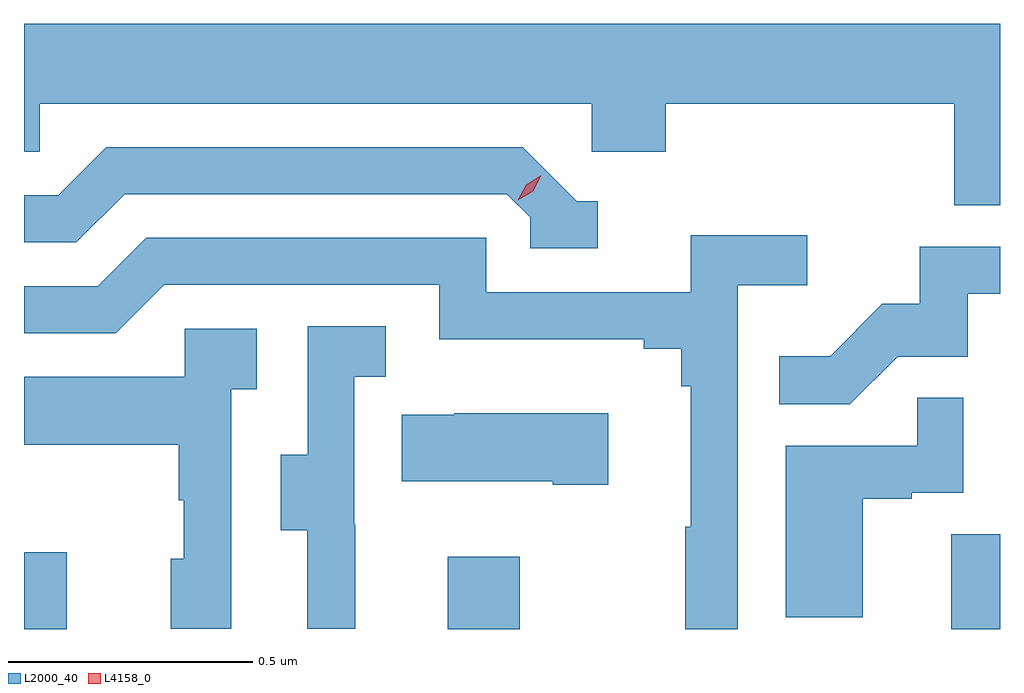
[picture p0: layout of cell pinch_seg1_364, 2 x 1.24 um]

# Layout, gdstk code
import gdstk
lib = gdstk.Library(unit=1e-6, precision=1e-09)
def R(c, l, rs):  # rectangles x0, y0, x1, y1
    for r in rs: c.add(gdstk.rectangle(r[:2], r[2:], *l))
def P(c, l, *ps):  # polygons
    for p in ps: c.add(gdstk.Polygon(p, *l))
L2000_40 = (2000, 40)
L4158_0 = (4158, 0)

pinch_seg1_364 = lib.new_cell('pinch_seg1_364')
R(pinch_seg1_364, L2000_40, [(980.743,547.991,980.831,548.149), (981.611,547.991,981.759,548.14), (982.643,547.991,982.743,548.186)])
P(pinch_seg1_364, L2000_40, [(982.743,549.232),(980.743,549.232),(980.743,548.97),(980.775,548.97),(980.775,549.068),(981.906,549.068),(981.906,548.97),(982.058,548.97),(982.058,549.068),(982.649,549.068),(982.649,548.86),(982.743,548.86)],
  [(981.919,548.868),(981.876,548.868),(981.765,548.979),(980.912,548.979),(980.813,548.88),(980.743,548.88),(980.743,548.784),(980.85,548.784),(980.949,548.883),(981.732,548.883),(981.78,548.835),(981.78,548.772),(981.919,548.772)],
  [(982.206,548.696),(982.348,548.696),(982.348,548.798),(982.109,548.798),(982.109,548.682),(981.69,548.682),(981.69,548.793),(980.993,548.793),(980.894,548.694),(980.743,548.694),(980.743,548.598),(980.931,548.598),(981.03,548.697),(981.594,548.697),(981.594,548.585),(982.013,548.585),(982.013,548.566),(982.09,548.566),(982.09,548.489),(982.109,548.489),(982.109,548.201),(982.098,548.201),(982.098,547.991),(982.206,547.991)],
  [(982.533,548.55),(982.677,548.55),(982.677,548.679),(982.743,548.679),(982.743,548.775),(982.579,548.775),(982.579,548.658),(982.502,548.658),(982.395,548.551),(982.291,548.551),(982.291,548.452),(982.435,548.452)],
  [(981.422,548.205),(981.42,548.205),(981.42,548.509),(981.484,548.509),(981.484,548.612),(981.324,548.612),(981.324,548.349),(981.269,548.349),(981.269,548.194),(981.323,548.194),(981.323,547.992),(981.422,547.992)],
  [(981.168,548.483),(981.22,548.483),(981.22,548.607),(981.072,548.607),(981.072,548.509),(980.743,548.509),(980.743,548.369),(981.06,548.369),(981.06,548.255),(981.07,548.255),(981.07,548.136),(981.044,548.136),(981.044,547.992),(981.168,547.992)],
  [(982.462,548.259),(982.562,548.259),(982.562,548.271),(982.668,548.271),(982.668,548.465),(982.573,548.465),(982.573,548.367),(982.304,548.367),(982.304,548.016),(982.462,548.016)],
  [(981.94,548.434),(981.625,548.434),(981.625,548.431),(981.517,548.431),(981.517,548.294),(981.827,548.294),(981.827,548.287),(981.94,548.287)])
P(pinch_seg1_364, L4158_0, [(981.755,548.87),(981.755,548.87),(981.772,548.902),(981.803,548.921),(981.803,548.921),(981.803,548.921),(981.787,548.889),(981.755,548.87)])

lib.write_gds('pinch_seg1_364.gds')
